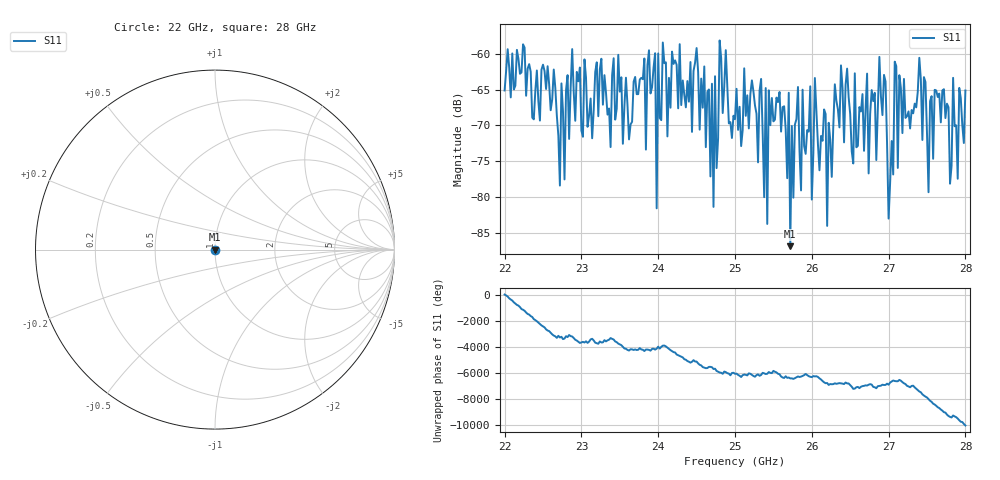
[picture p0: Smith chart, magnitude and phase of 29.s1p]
#  HZ  S  RI  R  50.00
! Rohde & Schwarz ZVA40 4Ports - Version 3.90 - 1145.1110k42 SN: 100403
! Date: 2023-10-04 09:27:00
! Measurement: S12
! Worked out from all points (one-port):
!   301 points, 22 GHz to 28 GHz, reference 50 ohm
!   lowest |S11| = -86.8 dB at 25.72 GHz (marker M1), VSWR 1.00, Z = 50 + j0.00437 ohm
!   |S11| at or under -10 dB: start of sweep to end of sweep
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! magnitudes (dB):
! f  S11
! 22 GHz  -65.1
! 22.76 GHz  -68.0
! 23.5 GHz  -65.3
! 23.96 GHz  -59.9
! 23.98 GHz  -81.5
! 24 GHz  -60.0
! 24.26 GHz  -67.6
! 25 GHz  -69.1
! 25.34 GHz  -63.5
! 25.38 GHz  -80.0
! 25.4 GHz  -64.8
! 25.42 GHz  -83.7
! 25.44 GHz  -65.1
! 25.7 GHz  -65.5
! 25.72 GHz  -86.8
! 25.76 GHz  -80.1
! 25.82 GHz  -64.6
! 25.86 GHz  -79.0
! 25.98 GHz  -64.5
! 26 GHz  -80.3
! 26.04 GHz  -63.4
! 26.2 GHz  -84.0
! 26.5 GHz  -68.4
! 27.26 GHz  -68.0
! 27.48 GHz  -64.0
! 27.52 GHz  -79.3
! 27.56 GHz  -65.9
! 28 GHz  -65.1
